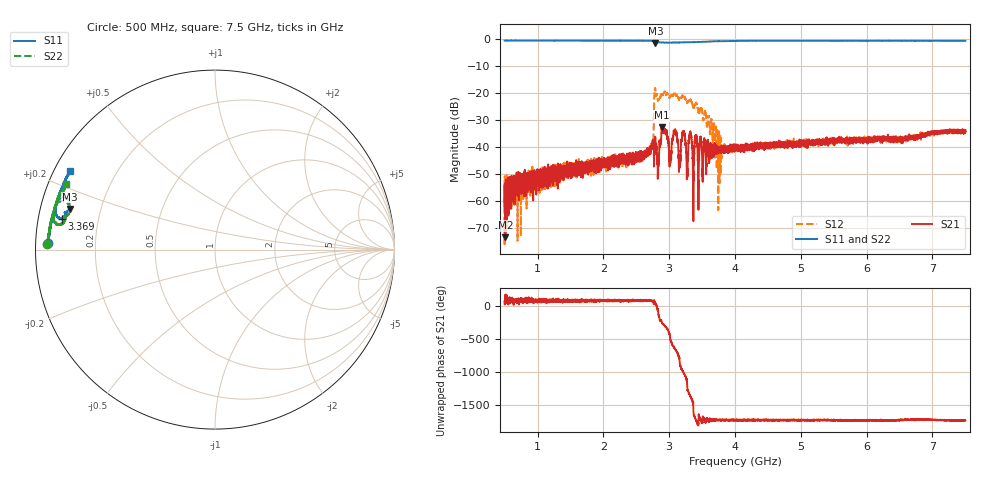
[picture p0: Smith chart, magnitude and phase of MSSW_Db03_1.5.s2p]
!Keysight Technologies,M9374A,MY55442783,A.12.55.05
!Date: Wednesday, May 19, 2021 15:36:55
!Correction: S11(Full 2 Port(1,2))
!S21(Full 2 Port(1,2))
!S12(Full 2 Port(1,2))
!S22(Full 2 Port(1,2))
!S2P File: Measurements: S11, S21, S12, S22:
# Hz S  RI  R 50
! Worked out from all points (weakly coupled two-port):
!   7001 points, 500 MHz to 7.5 GHz, reference 50 ohm
!   highest |S21| = -32.75 dB at 2.885 GHz (marker M1); lowest = -73.4 dB at 512 MHz (marker M2)
!   lowest |S11| = -1.5 dB at 2.792 GHz (marker M3), VSWR 11.58, Z = 4.4 + j6.8 ohm
!   |S11| at or under -10 dB: nowhere
!   |S22| runs from -1.6 to -0.6 dB; largest |S21 - S12| = 0.11
!   S11 on the Smith chart (normalised r, x): 500 MHz: 0.04, +0.02; 3.369 GHz: 0.07, +0.10; 7.5 GHz: 0.05, +0.25
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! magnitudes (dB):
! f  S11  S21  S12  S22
! 500 MHz  -0.6  -53.5  -58.4  -0.6
! 512 MHz  -0.6  -73.4  -53.1  -0.6
! 1.667 GHz  -0.7  -47.1  -47.4  -0.6
! 2.679 GHz  -0.7  -42.9  -42.5  -0.7
! 2.732 GHz  -0.7  -39.5  -39.2  -0.7
! 2.792 GHz  -1.5  -38.2  -18.9  -1.5
! 2.834 GHz  -1.3  -46.0  -22.6  -1.3
! 2.885 GHz  -1.4  -32.7  -20.6  -1.3
! 2.942 GHz  -1.4  -34.1  -20.4  -1.4
! 3.016 GHz  -1.4  -42.8  -21.3  -1.4
! 3.096 GHz  -1.4  -34.2  -20.5  -1.3
! 3.156 GHz  -1.3  -47.1  -22.1  -1.3
! 3.216 GHz  -1.3  -34.2  -20.9  -1.3
! 3.26 GHz  -1.3  -43.8  -23.1  -1.3
! 3.32 GHz  -1.3  -35.1  -23.0  -1.2
! 3.369 GHz  -1.2  -52.3  -25.4  -1.2
! 3.574 GHz  -1.0  -39.8  -32.5  -1.0
! 3.778 GHz  -0.9  -41.9  -38.4  -0.8
! 4 GHz  -0.8  -40.0  -40.0  -0.8
! 5.167 GHz  -0.7  -39.2  -38.7  -0.7
! 6.334 GHz  -0.7  -37.6  -37.3  -0.8
! 7.5 GHz  -0.7  -33.8  -34.2  -0.8
